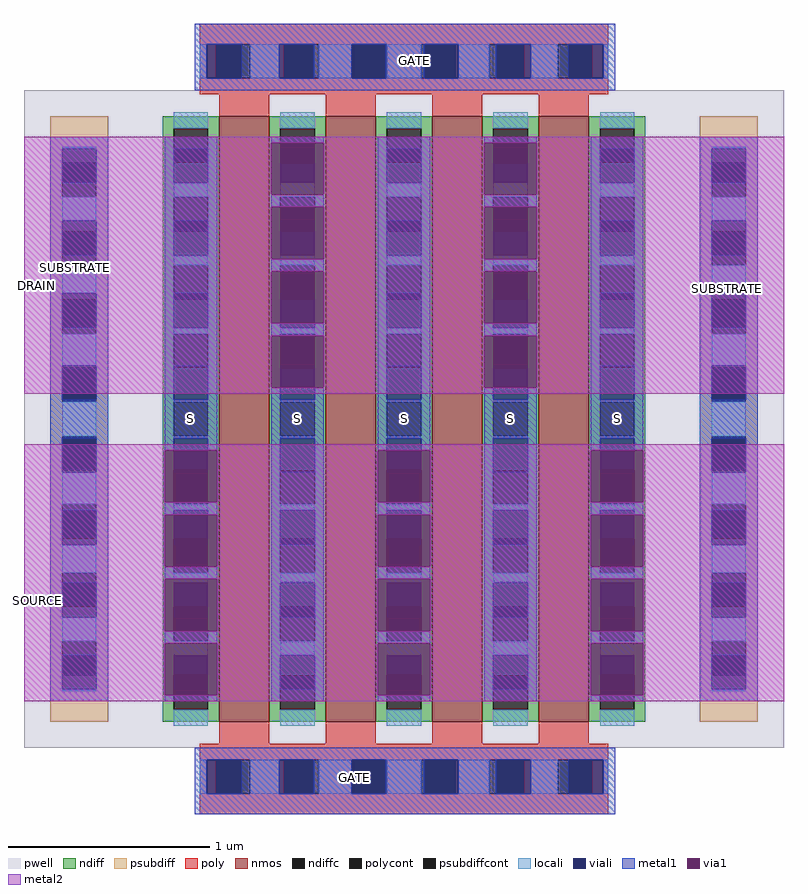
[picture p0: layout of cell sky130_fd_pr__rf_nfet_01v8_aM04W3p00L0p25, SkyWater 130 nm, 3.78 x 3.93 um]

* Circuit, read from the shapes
.subckt sky130_fd_pr__rf_nfet_01v8_aM04W3p00L0p25 DRAIN GATE SOURCE SUBSTRATE
XM1 DRAIN GATE SOURCE SUBSTRATE sky130_fd_pr__nfet_01v8 w=3.01 l=0.25 m=4
.ends

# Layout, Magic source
magic
tech sky130A
magscale 1 2
<< pwell >>
rect 0 66 756 720
<< nmos >>
rect 194 92 244 694
rect 300 92 350 694
rect 406 92 456 694
rect 512 92 562 694
<< ndiff >>
rect 138 682 194 694
rect 138 648 149 682
rect 183 648 194 682
rect 138 614 194 648
rect 138 580 149 614
rect 183 580 194 614
rect 138 546 194 580
rect 138 512 149 546
rect 183 512 194 546
rect 138 478 194 512
rect 138 444 149 478
rect 183 444 194 478
rect 138 410 194 444
rect 138 376 149 410
rect 183 376 194 410
rect 138 342 194 376
rect 138 308 149 342
rect 183 308 194 342
rect 138 274 194 308
rect 138 240 149 274
rect 183 240 194 274
rect 138 206 194 240
rect 138 172 149 206
rect 183 172 194 206
rect 138 138 194 172
rect 138 104 149 138
rect 183 104 194 138
rect 138 92 194 104
rect 244 682 300 694
rect 244 648 255 682
rect 289 648 300 682
rect 244 614 300 648
rect 244 580 255 614
rect 289 580 300 614
rect 244 546 300 580
rect 244 512 255 546
rect 289 512 300 546
rect 244 478 300 512
rect 244 444 255 478
rect 289 444 300 478
rect 244 410 300 444
rect 244 376 255 410
rect 289 376 300 410
rect 244 342 300 376
rect 244 308 255 342
rect 289 308 300 342
rect 244 274 300 308
rect 244 240 255 274
rect 289 240 300 274
rect 244 206 300 240
rect 244 172 255 206
rect 289 172 300 206
rect 244 138 300 172
rect 244 104 255 138
rect 289 104 300 138
rect 244 92 300 104
rect 350 682 406 694
rect 350 648 361 682
rect 395 648 406 682
rect 350 614 406 648
rect 350 580 361 614
rect 395 580 406 614
rect 350 546 406 580
rect 350 512 361 546
rect 395 512 406 546
rect 350 478 406 512
rect 350 444 361 478
rect 395 444 406 478
rect 350 410 406 444
rect 350 376 361 410
rect 395 376 406 410
rect 350 342 406 376
rect 350 308 361 342
rect 395 308 406 342
rect 350 274 406 308
rect 350 240 361 274
rect 395 240 406 274
rect 350 206 406 240
rect 350 172 361 206
rect 395 172 406 206
rect 350 138 406 172
rect 350 104 361 138
rect 395 104 406 138
rect 350 92 406 104
rect 456 682 512 694
rect 456 648 467 682
rect 501 648 512 682
rect 456 614 512 648
rect 456 580 467 614
rect 501 580 512 614
rect 456 546 512 580
rect 456 512 467 546
rect 501 512 512 546
rect 456 478 512 512
rect 456 444 467 478
rect 501 444 512 478
rect 456 410 512 444
rect 456 376 467 410
rect 501 376 512 410
rect 456 342 512 376
rect 456 308 467 342
rect 501 308 512 342
rect 456 274 512 308
rect 456 240 467 274
rect 501 240 512 274
rect 456 206 512 240
rect 456 172 467 206
rect 501 172 512 206
rect 456 138 512 172
rect 456 104 467 138
rect 501 104 512 138
rect 456 92 512 104
rect 562 682 618 694
rect 562 648 573 682
rect 607 648 618 682
rect 562 614 618 648
rect 562 580 573 614
rect 607 580 618 614
rect 562 546 618 580
rect 562 512 573 546
rect 607 512 618 546
rect 562 478 618 512
rect 562 444 573 478
rect 607 444 618 478
rect 562 410 618 444
rect 562 376 573 410
rect 607 376 618 410
rect 562 342 618 376
rect 562 308 573 342
rect 607 308 618 342
rect 562 274 618 308
rect 562 240 573 274
rect 607 240 618 274
rect 562 206 618 240
rect 562 172 573 206
rect 607 172 618 206
rect 562 138 618 172
rect 562 104 573 138
rect 607 104 618 138
rect 562 92 618 104
<< ndiffc >>
rect 149 648 183 682
rect 149 580 183 614
rect 149 512 183 546
rect 149 444 183 478
rect 149 376 183 410
rect 149 308 183 342
rect 149 240 183 274
rect 149 172 183 206
rect 149 104 183 138
rect 255 648 289 682
rect 255 580 289 614
rect 255 512 289 546
rect 255 444 289 478
rect 255 376 289 410
rect 255 308 289 342
rect 255 240 289 274
rect 255 172 289 206
rect 255 104 289 138
rect 361 648 395 682
rect 361 580 395 614
rect 361 512 395 546
rect 361 444 395 478
rect 361 376 395 410
rect 361 308 395 342
rect 361 240 395 274
rect 361 172 395 206
rect 361 104 395 138
rect 467 648 501 682
rect 467 580 501 614
rect 467 512 501 546
rect 467 444 501 478
rect 467 376 501 410
rect 467 308 501 342
rect 467 240 501 274
rect 467 172 501 206
rect 467 104 501 138
rect 573 648 607 682
rect 573 580 607 614
rect 573 512 607 546
rect 573 444 607 478
rect 573 376 607 410
rect 573 308 607 342
rect 573 240 607 274
rect 573 172 607 206
rect 573 104 607 138
<< psubdiff >>
rect 26 648 84 694
rect 26 614 38 648
rect 72 614 84 648
rect 26 580 84 614
rect 26 546 38 580
rect 72 546 84 580
rect 26 512 84 546
rect 26 478 38 512
rect 72 478 84 512
rect 26 444 84 478
rect 26 410 38 444
rect 72 410 84 444
rect 26 376 84 410
rect 26 342 38 376
rect 72 342 84 376
rect 26 308 84 342
rect 26 274 38 308
rect 72 274 84 308
rect 26 240 84 274
rect 26 206 38 240
rect 72 206 84 240
rect 26 172 84 206
rect 26 138 38 172
rect 72 138 84 172
rect 26 92 84 138
rect 672 648 730 694
rect 672 614 684 648
rect 718 614 730 648
rect 672 580 730 614
rect 672 546 684 580
rect 718 546 730 580
rect 672 512 730 546
rect 672 478 684 512
rect 718 478 730 512
rect 672 444 730 478
rect 672 410 684 444
rect 718 410 730 444
rect 672 376 730 410
rect 672 342 684 376
rect 718 342 730 376
rect 672 308 730 342
rect 672 274 684 308
rect 718 274 730 308
rect 672 240 730 274
rect 672 206 684 240
rect 718 206 730 240
rect 672 172 730 206
rect 672 138 684 172
rect 718 138 730 172
rect 672 92 730 138
<< psubdiffcont >>
rect 38 614 72 648
rect 38 546 72 580
rect 38 478 72 512
rect 38 410 72 444
rect 38 342 72 376
rect 38 274 72 308
rect 38 206 72 240
rect 38 138 72 172
rect 684 614 718 648
rect 684 546 718 580
rect 684 478 718 512
rect 684 410 718 444
rect 684 342 718 376
rect 684 274 718 308
rect 684 206 718 240
rect 684 138 718 172
<< poly >>
rect 175 766 581 786
rect 175 732 191 766
rect 225 732 259 766
rect 293 732 327 766
rect 361 732 395 766
rect 429 732 463 766
rect 497 732 531 766
rect 565 732 581 766
rect 175 716 581 732
rect 194 694 244 716
rect 300 694 350 716
rect 406 694 456 716
rect 512 694 562 716
rect 194 70 244 92
rect 300 70 350 92
rect 406 70 456 92
rect 512 70 562 92
rect 175 54 581 70
rect 175 20 191 54
rect 225 20 259 54
rect 293 20 327 54
rect 361 20 395 54
rect 429 20 463 54
rect 497 20 531 54
rect 565 20 581 54
rect 175 0 581 20
<< polycont >>
rect 191 732 225 766
rect 259 732 293 766
rect 327 732 361 766
rect 395 732 429 766
rect 463 732 497 766
rect 531 732 565 766
rect 191 20 225 54
rect 259 20 293 54
rect 327 20 361 54
rect 395 20 429 54
rect 463 20 497 54
rect 531 20 565 54
<< locali >>
rect 175 732 182 766
rect 225 732 254 766
rect 293 732 326 766
rect 361 732 395 766
rect 432 732 463 766
rect 504 732 531 766
rect 576 732 581 766
rect 149 682 183 698
rect 38 662 72 664
rect 38 590 72 614
rect 38 518 72 546
rect 38 446 72 478
rect 38 376 72 410
rect 38 308 72 340
rect 38 240 72 268
rect 38 172 72 196
rect 38 122 72 124
rect 149 614 183 628
rect 149 546 183 556
rect 149 478 183 484
rect 149 410 183 412
rect 149 374 183 376
rect 149 302 183 308
rect 149 230 183 240
rect 149 158 183 172
rect 149 88 183 104
rect 255 682 289 698
rect 255 614 289 628
rect 255 546 289 556
rect 255 478 289 484
rect 255 410 289 412
rect 255 374 289 376
rect 255 302 289 308
rect 255 230 289 240
rect 255 158 289 172
rect 255 88 289 104
rect 361 682 395 698
rect 361 614 395 628
rect 361 546 395 556
rect 361 478 395 484
rect 361 410 395 412
rect 361 374 395 376
rect 361 302 395 308
rect 361 230 395 240
rect 361 158 395 172
rect 361 88 395 104
rect 467 682 501 698
rect 467 614 501 628
rect 467 546 501 556
rect 467 478 501 484
rect 467 410 501 412
rect 467 374 501 376
rect 467 302 501 308
rect 467 230 501 240
rect 467 158 501 172
rect 467 88 501 104
rect 573 682 607 698
rect 573 614 607 628
rect 573 546 607 556
rect 573 478 607 484
rect 573 410 607 412
rect 573 374 607 376
rect 573 302 607 308
rect 573 230 607 240
rect 573 158 607 172
rect 684 662 718 664
rect 684 590 718 614
rect 684 518 718 546
rect 684 446 718 478
rect 684 376 718 410
rect 684 308 718 340
rect 684 240 718 268
rect 684 172 718 196
rect 684 122 718 124
rect 573 88 607 104
rect 175 20 182 54
rect 225 20 254 54
rect 293 20 326 54
rect 361 20 395 54
rect 432 20 463 54
rect 504 20 531 54
rect 576 20 581 54
<< viali >>
rect 182 732 191 766
rect 191 732 216 766
rect 254 732 259 766
rect 259 732 288 766
rect 326 732 327 766
rect 327 732 360 766
rect 398 732 429 766
rect 429 732 432 766
rect 470 732 497 766
rect 497 732 504 766
rect 542 732 565 766
rect 565 732 576 766
rect 38 648 72 662
rect 38 628 72 648
rect 38 580 72 590
rect 38 556 72 580
rect 38 512 72 518
rect 38 484 72 512
rect 38 444 72 446
rect 38 412 72 444
rect 38 342 72 374
rect 38 340 72 342
rect 38 274 72 302
rect 38 268 72 274
rect 38 206 72 230
rect 38 196 72 206
rect 38 138 72 158
rect 38 124 72 138
rect 149 648 183 662
rect 149 628 183 648
rect 149 580 183 590
rect 149 556 183 580
rect 149 512 183 518
rect 149 484 183 512
rect 149 444 183 446
rect 149 412 183 444
rect 149 342 183 374
rect 149 340 183 342
rect 149 274 183 302
rect 149 268 183 274
rect 149 206 183 230
rect 149 196 183 206
rect 149 138 183 158
rect 149 124 183 138
rect 255 648 289 662
rect 255 628 289 648
rect 255 580 289 590
rect 255 556 289 580
rect 255 512 289 518
rect 255 484 289 512
rect 255 444 289 446
rect 255 412 289 444
rect 255 342 289 374
rect 255 340 289 342
rect 255 274 289 302
rect 255 268 289 274
rect 255 206 289 230
rect 255 196 289 206
rect 255 138 289 158
rect 255 124 289 138
rect 361 648 395 662
rect 361 628 395 648
rect 361 580 395 590
rect 361 556 395 580
rect 361 512 395 518
rect 361 484 395 512
rect 361 444 395 446
rect 361 412 395 444
rect 361 342 395 374
rect 361 340 395 342
rect 361 274 395 302
rect 361 268 395 274
rect 361 206 395 230
rect 361 196 395 206
rect 361 138 395 158
rect 361 124 395 138
rect 467 648 501 662
rect 467 628 501 648
rect 467 580 501 590
rect 467 556 501 580
rect 467 512 501 518
rect 467 484 501 512
rect 467 444 501 446
rect 467 412 501 444
rect 467 342 501 374
rect 467 340 501 342
rect 467 274 501 302
rect 467 268 501 274
rect 467 206 501 230
rect 467 196 501 206
rect 467 138 501 158
rect 467 124 501 138
rect 573 648 607 662
rect 573 628 607 648
rect 573 580 607 590
rect 573 556 607 580
rect 573 512 607 518
rect 573 484 607 512
rect 573 444 607 446
rect 573 412 607 444
rect 573 342 607 374
rect 573 340 607 342
rect 573 274 607 302
rect 573 268 607 274
rect 573 206 607 230
rect 573 196 607 206
rect 573 138 607 158
rect 573 124 607 138
rect 684 648 718 662
rect 684 628 718 648
rect 684 580 718 590
rect 684 556 718 580
rect 684 512 718 518
rect 684 484 718 512
rect 684 444 718 446
rect 684 412 718 444
rect 684 342 718 374
rect 684 340 718 342
rect 684 274 718 302
rect 684 268 718 274
rect 684 206 718 230
rect 684 196 718 206
rect 684 138 718 158
rect 684 124 718 138
rect 182 20 191 54
rect 191 20 216 54
rect 254 20 259 54
rect 259 20 288 54
rect 326 20 327 54
rect 327 20 360 54
rect 398 20 429 54
rect 429 20 432 54
rect 470 20 497 54
rect 497 20 504 54
rect 542 20 565 54
rect 565 20 576 54
<< metal1 >>
rect 170 766 588 786
rect 170 732 182 766
rect 216 732 254 766
rect 288 732 326 766
rect 360 732 398 766
rect 432 732 470 766
rect 504 732 542 766
rect 576 732 588 766
rect 170 720 588 732
rect 26 662 84 674
rect 26 628 38 662
rect 72 628 84 662
rect 26 590 84 628
rect 26 556 38 590
rect 72 556 84 590
rect 26 518 84 556
rect 26 484 38 518
rect 72 484 84 518
rect 26 446 84 484
rect 26 412 38 446
rect 72 412 84 446
rect 26 374 84 412
rect 26 340 38 374
rect 72 340 84 374
rect 26 302 84 340
rect 26 268 38 302
rect 72 268 84 302
rect 26 230 84 268
rect 26 196 38 230
rect 72 196 84 230
rect 26 158 84 196
rect 26 124 38 158
rect 72 124 84 158
rect 26 112 84 124
rect 140 662 192 674
rect 140 628 149 662
rect 183 628 192 662
rect 140 590 192 628
rect 140 556 149 590
rect 183 556 192 590
rect 140 518 192 556
rect 140 484 149 518
rect 183 484 192 518
rect 140 446 192 484
rect 140 412 149 446
rect 183 412 192 446
rect 140 374 192 412
rect 140 362 149 374
rect 183 362 192 374
rect 140 302 192 310
rect 140 298 149 302
rect 183 298 192 302
rect 140 234 192 246
rect 140 170 192 182
rect 140 112 192 118
rect 246 668 298 674
rect 246 604 298 616
rect 246 540 298 552
rect 246 484 255 488
rect 289 484 298 488
rect 246 476 298 484
rect 246 412 255 424
rect 289 412 298 424
rect 246 374 298 412
rect 246 340 255 374
rect 289 340 298 374
rect 246 302 298 340
rect 246 268 255 302
rect 289 268 298 302
rect 246 230 298 268
rect 246 196 255 230
rect 289 196 298 230
rect 246 158 298 196
rect 246 124 255 158
rect 289 124 298 158
rect 246 112 298 124
rect 352 662 404 674
rect 352 628 361 662
rect 395 628 404 662
rect 352 590 404 628
rect 352 556 361 590
rect 395 556 404 590
rect 352 518 404 556
rect 352 484 361 518
rect 395 484 404 518
rect 352 446 404 484
rect 352 412 361 446
rect 395 412 404 446
rect 352 374 404 412
rect 352 362 361 374
rect 395 362 404 374
rect 352 302 404 310
rect 352 298 361 302
rect 395 298 404 302
rect 352 234 404 246
rect 352 170 404 182
rect 352 112 404 118
rect 458 668 510 674
rect 458 604 510 616
rect 458 540 510 552
rect 458 484 467 488
rect 501 484 510 488
rect 458 476 510 484
rect 458 412 467 424
rect 501 412 510 424
rect 458 374 510 412
rect 458 340 467 374
rect 501 340 510 374
rect 458 302 510 340
rect 458 268 467 302
rect 501 268 510 302
rect 458 230 510 268
rect 458 196 467 230
rect 501 196 510 230
rect 458 158 510 196
rect 458 124 467 158
rect 501 124 510 158
rect 458 112 510 124
rect 564 662 616 674
rect 564 628 573 662
rect 607 628 616 662
rect 564 590 616 628
rect 564 556 573 590
rect 607 556 616 590
rect 564 518 616 556
rect 564 484 573 518
rect 607 484 616 518
rect 564 446 616 484
rect 564 412 573 446
rect 607 412 616 446
rect 564 374 616 412
rect 564 362 573 374
rect 607 362 616 374
rect 564 302 616 310
rect 564 298 573 302
rect 607 298 616 302
rect 564 234 616 246
rect 564 170 616 182
rect 564 112 616 118
rect 672 662 730 674
rect 672 628 684 662
rect 718 628 730 662
rect 672 590 730 628
rect 672 556 684 590
rect 718 556 730 590
rect 672 518 730 556
rect 672 484 684 518
rect 718 484 730 518
rect 672 446 730 484
rect 672 412 684 446
rect 718 412 730 446
rect 672 374 730 412
rect 672 340 684 374
rect 718 340 730 374
rect 672 302 730 340
rect 672 268 684 302
rect 718 268 730 302
rect 672 230 730 268
rect 672 196 684 230
rect 718 196 730 230
rect 672 158 730 196
rect 672 124 684 158
rect 718 124 730 158
rect 672 112 730 124
rect 170 54 588 66
rect 170 20 182 54
rect 216 20 254 54
rect 288 20 326 54
rect 360 20 398 54
rect 432 20 470 54
rect 504 20 542 54
rect 576 20 588 54
rect 170 0 588 20
<< via1 >>
rect 140 340 149 362
rect 149 340 183 362
rect 183 340 192 362
rect 140 310 192 340
rect 140 268 149 298
rect 149 268 183 298
rect 183 268 192 298
rect 140 246 192 268
rect 140 230 192 234
rect 140 196 149 230
rect 149 196 183 230
rect 183 196 192 230
rect 140 182 192 196
rect 140 158 192 170
rect 140 124 149 158
rect 149 124 183 158
rect 183 124 192 158
rect 140 118 192 124
rect 246 662 298 668
rect 246 628 255 662
rect 255 628 289 662
rect 289 628 298 662
rect 246 616 298 628
rect 246 590 298 604
rect 246 556 255 590
rect 255 556 289 590
rect 289 556 298 590
rect 246 552 298 556
rect 246 518 298 540
rect 246 488 255 518
rect 255 488 289 518
rect 289 488 298 518
rect 246 446 298 476
rect 246 424 255 446
rect 255 424 289 446
rect 289 424 298 446
rect 352 340 361 362
rect 361 340 395 362
rect 395 340 404 362
rect 352 310 404 340
rect 352 268 361 298
rect 361 268 395 298
rect 395 268 404 298
rect 352 246 404 268
rect 352 230 404 234
rect 352 196 361 230
rect 361 196 395 230
rect 395 196 404 230
rect 352 182 404 196
rect 352 158 404 170
rect 352 124 361 158
rect 361 124 395 158
rect 395 124 404 158
rect 352 118 404 124
rect 458 662 510 668
rect 458 628 467 662
rect 467 628 501 662
rect 501 628 510 662
rect 458 616 510 628
rect 458 590 510 604
rect 458 556 467 590
rect 467 556 501 590
rect 501 556 510 590
rect 458 552 510 556
rect 458 518 510 540
rect 458 488 467 518
rect 467 488 501 518
rect 501 488 510 518
rect 458 446 510 476
rect 458 424 467 446
rect 467 424 501 446
rect 501 424 510 446
rect 564 340 573 362
rect 573 340 607 362
rect 607 340 616 362
rect 564 310 616 340
rect 564 268 573 298
rect 573 268 607 298
rect 607 268 616 298
rect 564 246 616 268
rect 564 230 616 234
rect 564 196 573 230
rect 573 196 607 230
rect 607 196 616 230
rect 564 182 616 196
rect 564 158 616 170
rect 564 124 573 158
rect 573 124 607 158
rect 607 124 616 158
rect 564 118 616 124
<< metal2 >>
rect 0 668 756 674
rect 0 616 246 668
rect 298 616 458 668
rect 510 616 756 668
rect 0 604 756 616
rect 0 552 246 604
rect 298 552 458 604
rect 510 552 756 604
rect 0 540 756 552
rect 0 488 246 540
rect 298 488 458 540
rect 510 488 756 540
rect 0 476 756 488
rect 0 424 246 476
rect 298 424 458 476
rect 510 424 756 476
rect 0 418 756 424
rect 0 362 756 368
rect 0 310 140 362
rect 192 310 352 362
rect 404 310 564 362
rect 616 310 756 362
rect 0 298 756 310
rect 0 246 140 298
rect 192 246 352 298
rect 404 246 564 298
rect 616 246 756 298
rect 0 234 756 246
rect 0 182 140 234
rect 192 182 352 234
rect 404 182 564 234
rect 616 182 756 234
rect 0 170 756 182
rect 0 118 140 170
rect 192 118 352 170
rect 404 118 564 170
rect 616 118 756 170
rect 0 112 756 118
<< labels >>
flabel comment s 166 393 166 393 0 FreeSans 300 0 0 0 S
flabel comment s 272 393 272 393 0 FreeSans 300 0 0 0 S
flabel comment s 378 393 378 393 0 FreeSans 300 0 0 0 S
flabel comment s 484 393 484 393 0 FreeSans 300 0 0 0 S
flabel comment s 166 393 166 393 0 FreeSans 300 0 0 0 S
flabel comment s 272 393 272 393 0 FreeSans 300 0 0 0 D
flabel comment s 378 393 378 393 0 FreeSans 300 0 0 0 S
flabel comment s 484 393 484 393 0 FreeSans 300 0 0 0 D
flabel comment s 590 393 590 393 0 FreeSans 300 0 0 0 S
flabel metal2 s 3 491 22 561 0 FreeSans 400 90 0 0 DRAIN
port 1 nsew
flabel metal2 s 3 180 24 244 0 FreeSans 400 90 0 0 SOURCE
port 3 nsew
flabel metal1 s 288 24 370 49 0 FreeSans 400 0 0 0 GATE
port 2 nsew
flabel metal1 s 347 737 429 762 0 FreeSans 400 0 0 0 GATE
port 2 nsew
flabel metal1 s 51 544 51 544 7 FreeSans 400 90 0 0 SUBSTRATE
port 4 nsew
flabel metal1 s 700 523 700 523 7 FreeSans 400 90 0 0 SUBSTRATE
port 4 nsew
<< properties >>
string GDS_FILE $PDKPATH/libs.ref/sky130_fd_pr/gds/sky130_fd_pr.gds
string GDS_END 5345652
string GDS_START 5329834
<< end >>
